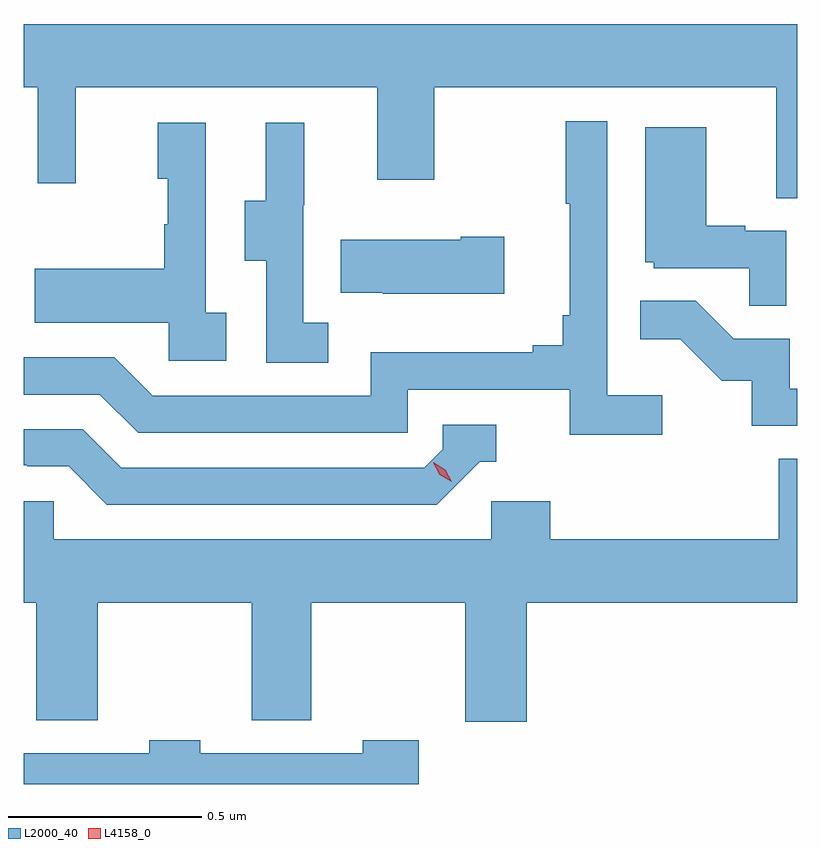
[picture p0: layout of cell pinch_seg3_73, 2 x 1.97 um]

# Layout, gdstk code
import gdstk
lib = gdstk.Library(unit=1e-6, precision=1e-09)
def P(c, l, *ps):  # polygons
    for p in ps: c.add(gdstk.Polygon(p, *l))
L2000_40 = (2000, 40)
L4158_0 = (4158, 0)

pinch_seg3_73 = lib.new_cell('pinch_seg3_73')
P(pinch_seg3_73, L2000_40, [(1045.301,737.044),(1043.301,737.044),(1043.301,736.88),(1043.337,736.88),(1043.337,736.632),(1043.435,736.632),(1043.435,736.88),(1044.215,736.88),(1044.215,736.641),(1044.363,736.641),(1044.363,736.88),(1045.247,736.88),(1045.247,736.594),(1045.301,736.594)],
  [(1044.952,736.084),(1044.81,736.084),(1044.81,736.792),(1044.702,736.792),(1044.702,736.579),(1044.713,736.579),(1044.713,736.291),(1044.694,736.291),(1044.694,736.214),(1044.617,736.214),(1044.617,736.195),(1044.198,736.195),(1044.198,736.083),(1043.634,736.083),(1043.535,736.182),(1043.301,736.182),(1043.301,736.086),(1043.498,736.086),(1043.597,735.987),(1044.294,735.987),(1044.294,736.098),(1044.713,736.098),(1044.713,735.982),(1044.952,735.982)],
  [(1044.088,736.271),(1044.024,736.271),(1044.024,736.575),(1044.026,736.575),(1044.026,736.789),(1043.927,736.789),(1043.927,736.587),(1043.873,736.587),(1043.873,736.432),(1043.928,736.432),(1043.928,736.168),(1044.088,736.168)],
  [(1043.824,736.298),(1043.772,736.298),(1043.772,736.789),(1043.648,736.789),(1043.648,736.644),(1043.674,736.644),(1043.674,736.526),(1043.664,736.526),(1043.664,736.411),(1043.329,736.411),(1043.329,736.271),(1043.676,736.271),(1043.676,736.173),(1043.824,736.173)],
  [(1045.272,736.509),(1045.166,736.509),(1045.166,736.522),(1045.066,736.522),(1045.066,736.777),(1044.908,736.777),(1044.908,736.428),(1044.93,736.428),(1044.93,736.413),(1045.177,736.413),(1045.177,736.315),(1045.272,736.315)],
  [(1044.544,736.494),(1044.431,736.494),(1044.431,736.486),(1044.121,736.486),(1044.121,736.349),(1044.229,736.349),(1044.229,736.346),(1044.544,736.346)],
  [(1045.301,736.101),(1045.281,736.101),(1045.281,736.23),(1045.137,736.23),(1045.039,736.328),(1044.895,736.328),(1044.895,736.229),(1044.999,736.229),(1045.106,736.122),(1045.183,736.122),(1045.183,736.005),(1045.301,736.005)],
  [(1044.48,735.912),(1044.523,735.912),(1044.523,736.008),(1044.384,736.008),(1044.384,735.945),(1044.336,735.897),(1043.553,735.897),(1043.454,735.996),(1043.301,735.996),(1043.301,735.903),(1043.31,735.903),(1043.31,735.9),(1043.417,735.9),(1043.516,735.801),(1044.369,735.801)],
  [(1044.602,735.548),(1045.301,735.548),(1045.301,735.92),(1045.253,735.92),(1045.253,735.712),(1044.662,735.712),(1044.662,735.81),(1044.51,735.81),(1044.51,735.712),(1043.379,735.712),(1043.379,735.81),(1043.301,735.81),(1043.301,735.548),(1043.333,735.548),(1043.333,735.244),(1043.492,735.244),(1043.492,735.548),(1043.89,735.548),(1043.89,735.244),(1044.044,735.244),(1044.044,735.548),(1044.442,735.548),(1044.442,735.24),(1044.602,735.24)],
  [(1044.322,735.192),(1044.177,735.192),(1044.177,735.159),(1043.757,735.159),(1043.757,735.192),(1043.625,735.192),(1043.625,735.159),(1043.301,735.159),(1043.301,735.079),(1044.322,735.079)])
P(pinch_seg3_73, L4158_0, [(1044.408,735.86),(1044.377,735.878),(1044.36,735.91),(1044.36,735.911),(1044.36,735.911),(1044.391,735.892),(1044.408,735.86),(1044.408,735.86)])

lib.write_gds('pinch_seg3_73.gds')
